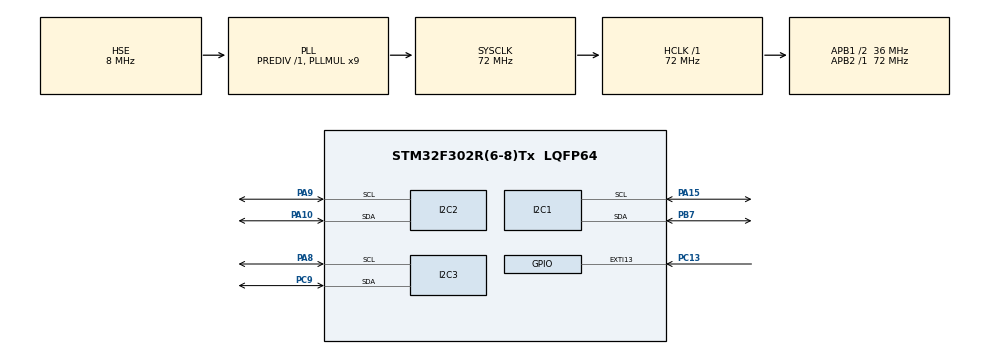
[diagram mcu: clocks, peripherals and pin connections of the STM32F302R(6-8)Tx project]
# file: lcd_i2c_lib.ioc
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Mcu.Family=STM32F3
Mcu.Name=STM32F302R(6-8)Tx
Mcu.Package=LQFP64
NVIC.EXTI15_10_IRQn=true\:0\:0\:false\:false\:true\:true\:true\:true
NVIC.PriorityGroup=NVIC_PRIORITYGROUP_0
PA10.Mode=I2C
PA10.Signal=I2C2_SDA
PA13.Mode=Trace_Asynchronous_SW
PA13.Signal=SYS_JTMS-SWDIO
PA14.Mode=Trace_Asynchronous_SW
PA14.Signal=SYS_JTCK-SWCLK
PA15.Mode=I2C
PA15.Signal=I2C1_SCL
PA8.Mode=I2C
PA8.Signal=I2C3_SCL
PA9.Mode=I2C
PA9.Signal=I2C2_SCL
PB3.Mode=Trace_Asynchronous_SW
PB3.Signal=SYS_JTDO-TRACESWO
PB7.Mode=I2C
PB7.Signal=I2C1_SDA
PC13.GPIO_PuPd=GPIO_PULLUP
PC13.Signal=GPXTI13
PC9.Mode=I2C
PC9.Signal=I2C3_SDA
PF0-OSC_IN.Mode=HSE-External-Oscillator
PF0-OSC_IN.Signal=RCC_OSC_IN
PF1-OSC_OUT.Mode=HSE-External-Oscillator
PF1-OSC_OUT.Signal=RCC_OSC_OUT
ProjectManager.HeapSize=0x200
ProjectManager.StackSize=0x400
ProjectManager.TargetToolchain=STM32CubeIDE
RCC.AHBFreq_Value=72000000
RCC.APB1CLKDivider=RCC_HCLK_DIV2
RCC.APB1Freq_Value=36000000
RCC.APB1TimFreq_Value=72000000
RCC.APB2Freq_Value=72000000
RCC.APB2TimFreq_Value=72000000
RCC.CortexFreq_Value=72000000
RCC.HCLKFreq_Value=72000000
RCC.HSE_VALUE=8000000
RCC.HSI_VALUE=8000000
RCC.LSE_VALUE=32768
RCC.PLLM=8
RCC.PLLMUL=RCC_PLL_MUL9
RCC.PLLN=336
RCC.PLLP=RCC_PLLP_DIV4
RCC.PLLQ=7
RCC.PLLSourceVirtual=RCC_PLLSOURCE_HSE
RCC.SYSCLKFreq_VALUE=72000000
RCC.SYSCLKSourceVirtual=RCC_SYSCLKSOURCE_PLLCLK
RCC.USBFreq_Value=72000000
VP_TIM1_VS_ClockSourceINT.Mode=Internal
VP_TIM6_VS_ClockSourceINT.Mode=Enable_Timer
board=NUCLEO-F302R8

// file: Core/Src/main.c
/* USER CODE BEGIN Header */
/**
  ******************************************************************************
  * @file           : main.c
  * @brief          : Main program body
  ******************************************************************************
  * @attention
  *
  * Copyright (c) 2024 STMicroelectronics.
  * All rights reserved.
  *
  * This software is licensed under terms that can be found in the LICENSE file
  * in the root directory of this software component.
  * If no LICENSE file comes with this software, it is provided AS-IS.
  *
  ******************************************************************************
  */
/* USER CODE END Header */
#include "main.h"

/* USER CODE BEGIN Includes */
#include <stdio.h>
#include <string.h>
#include"hd44780_lcd_i2c.h"
#include"hd44780_lcd_i2c.h"
#include "stm32f3xx_hal_rcc.h"

/* USER CODE END Includes */

/* USER CODE BEGIN PD */
//#define TWO_LINES_ENABLE 		(0x01 << 3)
//#define MODULE_ADDRESS 			0x4E
//#define E_PIN_MASK 				0x04
//#define RS_PIN_MASK				0x01
//#define FUNCTION_SET_4_BIT_MODE 0x20
//#define CLEAR_DISPLAY 			0x01
//#define STARTUP 				0x30
//#define DISPLAY_OFF				0x08
//#define INCREMENT_NO_SHIFT		0x06
//#define BACKLIGHT_ON			0x08
/* USER CODE END PD */

I2C_HandleTypeDef hi2c1;
I2C_HandleTypeDef hi2c2;
I2C_HandleTypeDef hi2c3;

TIM_HandleTypeDef htim1;
TIM_HandleTypeDef htim6;

void SystemClock_Config(void);
static void MX_GPIO_Init(void);
static void MX_I2C1_Init(void);
static void MX_I2C3_Init(void);
static void MX_I2C2_Init(void);
static void MX_TIM1_Init(void);
static void MX_TIM6_Init(void);

/* USER CODE BEGIN 0 */

LCD_HandleTypeDef my_display = {&hi2c3, &htim1, MODULE_ADDRESS, 0, 0, 2};

void HAL_GPIO_EXTI_Callback(uint16_t GPIO_Pin){

}

/* USER CODE END 0 */

int main(void)
{

  /* MCU Configuration--------------------------------------------------------*/

  /* Reset of all peripherals, Initializes the Flash interface and the Systick. */
  HAL_Init();

  /* Configure the system clock */
  SystemClock_Config();

  /* Initialize all configured peripherals */
  MX_GPIO_Init();
  MX_I2C1_Init();
  MX_I2C3_Init();
  MX_I2C2_Init();
  MX_TIM1_Init();
  MX_TIM6_Init();
  /* USER CODE BEGIN 2 */
  LCD_init(&my_display);
  char data[] = "HD44780";
  char data2[] = "I2C";
  char data3[] = "by:";
  char data4[] = "st4micki";
  LCD_set_position(&my_display, 0, 0);
  LCD_printf(&my_display, data);
  LCD_printf_align(&my_display, data2, ALIGN_RIGHT);
  LCD_set_position(&my_display, 0, 1);
  LCD_printf(&my_display, data3);
  LCD_printf_align(&my_display, data4, ALIGN_MIDDLE);

  /* USER CODE END 2 */

  /* Infinite loop */
  while (1)
  {
  }
}

void SystemClock_Config(void)
{
  RCC_OscInitTypeDef RCC_OscInitStruct = {0};
  RCC_ClkInitTypeDef RCC_ClkInitStruct = {0};
  RCC_PeriphCLKInitTypeDef PeriphClkInit = {0};

  /** Initializes the RCC Oscillators according to the specified parameters
  * in the RCC_OscInitTypeDef structure.
  */
  RCC_OscInitStruct.OscillatorType = RCC_OSCILLATORTYPE_HSI|RCC_OSCILLATORTYPE_HSE;
  RCC_OscInitStruct.HSEState = RCC_HSE_ON;
  RCC_OscInitStruct.HSEPredivValue = RCC_HSE_PREDIV_DIV1;
  RCC_OscInitStruct.HSIState = RCC_HSI_ON;
  RCC_OscInitStruct.HSICalibrationValue = RCC_HSICALIBRATION_DEFAULT;
  RCC_OscInitStruct.PLL.PLLState = RCC_PLL_ON;
  RCC_OscInitStruct.PLL.PLLSource = RCC_PLLSOURCE_HSE;
  RCC_OscInitStruct.PLL.PLLMUL = RCC_PLL_MUL9;
  if (HAL_RCC_OscConfig(&RCC_OscInitStruct) != HAL_OK)
  {
    Error_Handler();
  }

  /** Initializes the CPU, AHB and APB buses clocks
  */
  RCC_ClkInitStruct.ClockType = RCC_CLOCKTYPE_HCLK|RCC_CLOCKTYPE_SYSCLK
                              |RCC_CLOCKTYPE_PCLK1|RCC_CLOCKTYPE_PCLK2;
  RCC_ClkInitStruct.SYSCLKSource = RCC_SYSCLKSOURCE_PLLCLK;
  RCC_ClkInitStruct.AHBCLKDivider = RCC_SYSCLK_DIV1;
  RCC_ClkInitStruct.APB1CLKDivider = RCC_HCLK_DIV2;
  RCC_ClkInitStruct.APB2CLKDivider = RCC_HCLK_DIV1;

  if (HAL_RCC_ClockConfig(&RCC_ClkInitStruct, FLASH_LATENCY_2) != HAL_OK)
  {
    Error_Handler();
  }
  PeriphClkInit.PeriphClockSelection = RCC_PERIPHCLK_I2C1|RCC_PERIPHCLK_I2C2
                              |RCC_PERIPHCLK_I2C3|RCC_PERIPHCLK_TIM1;
  PeriphClkInit.I2c1ClockSelection = RCC_I2C1CLKSOURCE_HSI;
  PeriphClkInit.I2c2ClockSelection = RCC_I2C2CLKSOURCE_HSI;
  PeriphClkInit.I2c3ClockSelection = RCC_I2C3CLKSOURCE_HSI;
  PeriphClkInit.Tim1ClockSelection = RCC_TIM1CLK_HCLK;
  if (HAL_RCCEx_PeriphCLKConfig(&PeriphClkInit) != HAL_OK)
  {
    Error_Handler();
  }
}

static void MX_I2C1_Init(void)
{

  hi2c1.Instance = I2C1;
  hi2c1.Init.Timing = 0x2000090E;
  hi2c1.Init.OwnAddress1 = 0;
  hi2c1.Init.AddressingMode = I2C_ADDRESSINGMODE_7BIT;
  hi2c1.Init.DualAddressMode = I2C_DUALADDRESS_DISABLE;
  hi2c1.Init.OwnAddress2 = 0;
  hi2c1.Init.OwnAddress2Masks = I2C_OA2_NOMASK;
  hi2c1.Init.GeneralCallMode = I2C_GENERALCALL_DISABLE;
  hi2c1.Init.NoStretchMode = I2C_NOSTRETCH_DISABLE;
  if (HAL_I2C_Init(&hi2c1) != HAL_OK)
  {
    Error_Handler();
  }

  /** Configure Analogue filter
  */
  if (HAL_I2CEx_ConfigAnalogFilter(&hi2c1, I2C_ANALOGFILTER_ENABLE) != HAL_OK)
  {
    Error_Handler();
  }

  /** Configure Digital filter
  */
  if (HAL_I2CEx_ConfigDigitalFilter(&hi2c1, 0) != HAL_OK)
  {
    Error_Handler();
  }

}

static void MX_I2C2_Init(void)
{

  hi2c2.Instance = I2C2;
  hi2c2.Init.Timing = 0x2000090E;
  hi2c2.Init.OwnAddress1 = 0;
  hi2c2.Init.AddressingMode = I2C_ADDRESSINGMODE_7BIT;
  hi2c2.Init.DualAddressMode = I2C_DUALADDRESS_DISABLE;
  hi2c2.Init.OwnAddress2 = 0;
  hi2c2.Init.OwnAddress2Masks = I2C_OA2_NOMASK;
  hi2c2.Init.GeneralCallMode = I2C_GENERALCALL_DISABLE;
  hi2c2.Init.NoStretchMode = I2C_NOSTRETCH_DISABLE;
  if (HAL_I2C_Init(&hi2c2) != HAL_OK)
  {
    Error_Handler();
  }

  /** Configure Analogue filter
  */
  if (HAL_I2CEx_ConfigAnalogFilter(&hi2c2, I2C_ANALOGFILTER_ENABLE) != HAL_OK)
  {
    Error_Handler();
  }

  /** Configure Digital filter
  */
  if (HAL_I2CEx_ConfigDigitalFilter(&hi2c2, 0) != HAL_OK)
  {
    Error_Handler();
  }

}

static void MX_I2C3_Init(void)
{

  hi2c3.Instance = I2C3;
  hi2c3.Init.Timing = 0x2000090E;
  hi2c3.Init.OwnAddress1 = 0;
  hi2c3.Init.AddressingMode = I2C_ADDRESSINGMODE_7BIT;
  hi2c3.Init.DualAddressMode = I2C_DUALADDRESS_DISABLE;
  hi2c3.Init.OwnAddress2 = 0;
  hi2c3.Init.OwnAddress2Masks = I2C_OA2_NOMASK;
  hi2c3.Init.GeneralCallMode = I2C_GENERALCALL_DISABLE;
  hi2c3.Init.NoStretchMode = I2C_NOSTRETCH_DISABLE;
  if (HAL_I2C_Init(&hi2c3) != HAL_OK)
  {
    Error_Handler();
  }

  /** Configure Analogue filter
  */
  if (HAL_I2CEx_ConfigAnalogFilter(&hi2c3, I2C_ANALOGFILTER_ENABLE) != HAL_OK)
  {
    Error_Handler();
  }

  /** Configure Digital filter
  */
  if (HAL_I2CEx_ConfigDigitalFilter(&hi2c3, 0) != HAL_OK)
  {
    Error_Handler();
  }

}

static void MX_TIM1_Init(void)
{

  TIM_ClockConfigTypeDef sClockSourceConfig = {0};
  TIM_MasterConfigTypeDef sMasterConfig = {0};

  htim1.Instance = TIM1;
  htim1.Init.Prescaler = 0;
  htim1.Init.CounterMode = TIM_COUNTERMODE_UP;
  htim1.Init.Period = 65535;
  htim1.Init.ClockDivision = TIM_CLOCKDIVISION_DIV1;
  htim1.Init.RepetitionCounter = 0;
  htim1.Init.AutoReloadPreload = TIM_AUTORELOAD_PRELOAD_DISABLE;
  if (HAL_TIM_Base_Init(&htim1) != HAL_OK)
  {
    Error_Handler();
  }
  sClockSourceConfig.ClockSource = TIM_CLOCKSOURCE_INTERNAL;
  if (HAL_TIM_ConfigClockSource(&htim1, &sClockSourceConfig) != HAL_OK)
  {
    Error_Handler();
  }
  sMasterConfig.MasterOutputTrigger = TIM_TRGO_RESET;
  sMasterConfig.MasterOutputTrigger2 = TIM_TRGO2_RESET;
  sMasterConfig.MasterSlaveMode = TIM_MASTERSLAVEMODE_DISABLE;
  if (HAL_TIMEx_MasterConfigSynchronization(&htim1, &sMasterConfig) != HAL_OK)
  {
    Error_Handler();
  }

}

static void MX_TIM6_Init(void)
{

  TIM_MasterConfigTypeDef sMasterConfig = {0};

  htim6.Instance = TIM6;
  htim6.Init.Prescaler = 0;
  htim6.Init.CounterMode = TIM_COUNTERMODE_UP;
  htim6.Init.Period = 65535;
  htim6.Init.AutoReloadPreload = TIM_AUTORELOAD_PRELOAD_DISABLE;
  if (HAL_TIM_Base_Init(&htim6) != HAL_OK)
  {
    Error_Handler();
  }
  sMasterConfig.MasterOutputTrigger = TIM_TRGO_RESET;
  sMasterConfig.MasterSlaveMode = TIM_MASTERSLAVEMODE_DISABLE;
  if (HAL_TIMEx_MasterConfigSynchronization(&htim6, &sMasterConfig) != HAL_OK)
  {
    Error_Handler();
  }

}

static void MX_GPIO_Init(void)
{
  GPIO_InitTypeDef GPIO_InitStruct = {0};

  /* GPIO Ports Clock Enable */
  __HAL_RCC_GPIOC_CLK_ENABLE();
  __HAL_RCC_GPIOF_CLK_ENABLE();
  __HAL_RCC_GPIOA_CLK_ENABLE();
  __HAL_RCC_GPIOB_CLK_ENABLE();

  /*Configure GPIO pin : PC13 */
  GPIO_InitStruct.Pin = GPIO_PIN_13;
  GPIO_InitStruct.Mode = GPIO_MODE_IT_RISING;
  GPIO_InitStruct.Pull = GPIO_PULLUP;
  HAL_GPIO_Init(GPIOC, &GPIO_InitStruct);

  /* EXTI interrupt init*/
  HAL_NVIC_SetPriority(EXTI15_10_IRQn, 0, 0);
  HAL_NVIC_EnableIRQ(EXTI15_10_IRQn);

}

void Error_Handler(void)
{
  __disable_irq();
  while (1)
  {
  }
}
